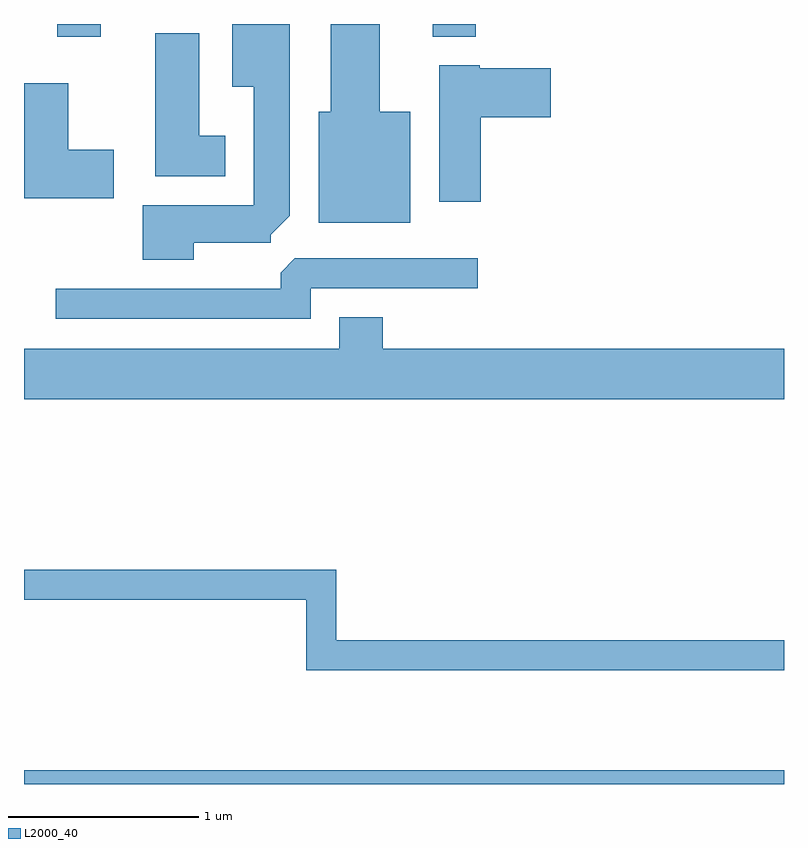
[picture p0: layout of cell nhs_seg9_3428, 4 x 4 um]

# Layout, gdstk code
import gdstk
lib = gdstk.Library(unit=1e-6, precision=1e-09)
def R(c, l, rs):  # rectangles x0, y0, x1, y1
    for r in rs: c.add(gdstk.rectangle(r[:2], r[2:], *l))
def P(c, l, *ps):  # polygons
    for p in ps: c.add(gdstk.Polygon(p, *l))
L2000_40 = (2000, 40)

nhs_seg9_3428 = lib.new_cell('nhs_seg9_3428')
R(nhs_seg9_3428, L2000_40, [(285.611,2016.432,289.611,2016.504), (285.786,2020.366,286.014,2020.432), (287.761,2020.366,287.989,2020.432)])
P(nhs_seg9_3428, L2000_40, [(286.504,2019.281),(286.909,2019.281),(286.909,2019.324),(287.009,2019.424),(287.009,2020.432),(286.706,2020.432),(286.706,2020.101),(286.821,2020.101),(286.821,2019.479),(286.236,2019.479),(286.236,2019.191),(286.504,2019.191)],
  [(287.644,2019.969),(287.484,2019.969),(287.484,2020.432),(287.226,2020.432),(287.226,2019.969),(287.161,2019.969),(287.161,2019.386),(287.644,2019.386)],
  [(286.669,2019.844),(286.534,2019.844),(286.534,2020.384),(286.301,2020.384),(286.301,2019.631),(286.669,2019.631)],
  [(288.014,2019.941),(288.384,2019.941),(288.384,2020.199),(288.01,2020.199),(288.01,2020.214),(287.796,2020.214),(287.796,2019.496),(288.014,2019.496)],
  [(286.084,2019.769),(285.844,2019.769),(285.844,2020.119),(285.611,2020.119),(285.611,2019.516),(286.084,2019.516)],
  [(287.119,2019.041),(287.998,2019.041),(287.998,2019.199),(287.037,2019.199),(286.961,2019.124),(286.961,2019.039),(285.778,2019.039),(285.778,2018.881),(287.119,2018.881)],
  [(289.611,2018.724),(287.499,2018.724),(287.499,2018.889),(287.271,2018.889),(287.271,2018.724),(285.611,2018.724),(285.611,2018.456),(289.611,2018.456)],
  [(289.611,2017.189),(287.254,2017.189),(287.254,2017.559),(285.611,2017.559),(285.611,2017.401),(287.096,2017.401),(287.096,2017.031),(289.611,2017.031)])

lib.write_gds('nhs_seg9_3428.gds')
